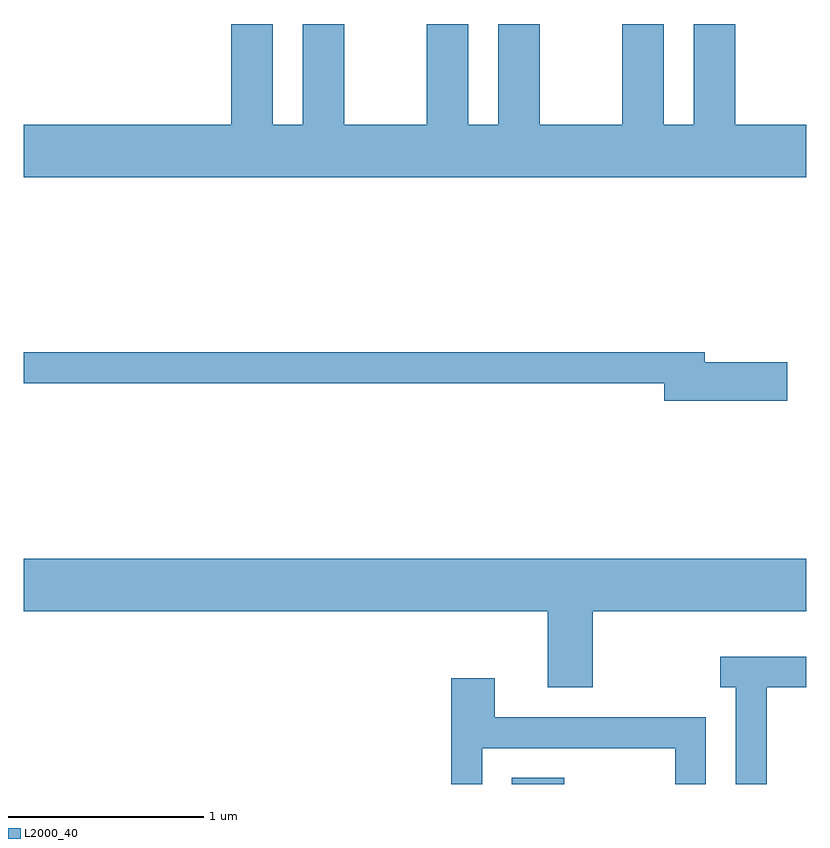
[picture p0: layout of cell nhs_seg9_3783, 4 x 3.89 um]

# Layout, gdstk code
import gdstk
lib = gdstk.Library(unit=1e-6, precision=1e-09)
def R(c, l, rs):  # rectangles x0, y0, x1, y1
    for r in rs: c.add(gdstk.rectangle(r[:2], r[2:], *l))
def P(c, l, *ps):  # polygons
    for p in ps: c.add(gdstk.Polygon(p, *l))
L2000_40 = (2000, 40)

nhs_seg9_3783 = lib.new_cell('nhs_seg9_3783')
R(nhs_seg9_3783, L2000_40, [(298.106,2046.432,298.374,2046.464)])
P(nhs_seg9_3783, L2000_40, [(299.611,2049.804),(299.249,2049.804),(299.249,2050.319),(299.036,2050.319),(299.036,2049.804),(298.884,2049.804),(298.884,2050.319),(298.671,2050.319),(298.671,2049.804),(298.249,2049.804),(298.249,2050.319),(298.036,2050.319),(298.036,2049.804),(297.884,2049.804),(297.884,2050.319),(297.671,2050.319),(297.671,2049.804),(297.249,2049.804),(297.249,2050.319),(297.036,2050.319),(297.036,2049.804),(296.884,2049.804),(296.884,2050.319),(296.671,2050.319),(296.671,2049.804),(295.611,2049.804),(295.611,2049.536),(299.611,2049.536)],
  [(299.514,2048.589),(299.094,2048.589),(299.094,2048.639),(295.611,2048.639),(295.611,2048.481),(298.886,2048.481),(298.886,2048.391),(299.514,2048.391)],
  [(298.519,2047.316),(299.611,2047.316),(299.611,2047.584),(295.611,2047.584),(295.611,2047.316),(298.291,2047.316),(298.291,2046.926),(298.519,2046.926)],
  [(299.409,2046.926),(299.611,2046.926),(299.611,2047.084),(299.173,2047.084),(299.173,2046.926),(299.251,2046.926),(299.251,2046.432),(299.409,2046.432)],
  [(297.954,2046.616),(298.941,2046.616),(298.941,2046.432),(299.099,2046.432),(299.099,2046.774),(298.019,2046.774),(298.019,2046.974),(297.796,2046.974),(297.796,2046.432),(297.954,2046.432)])

lib.write_gds('nhs_seg9_3783.gds')
